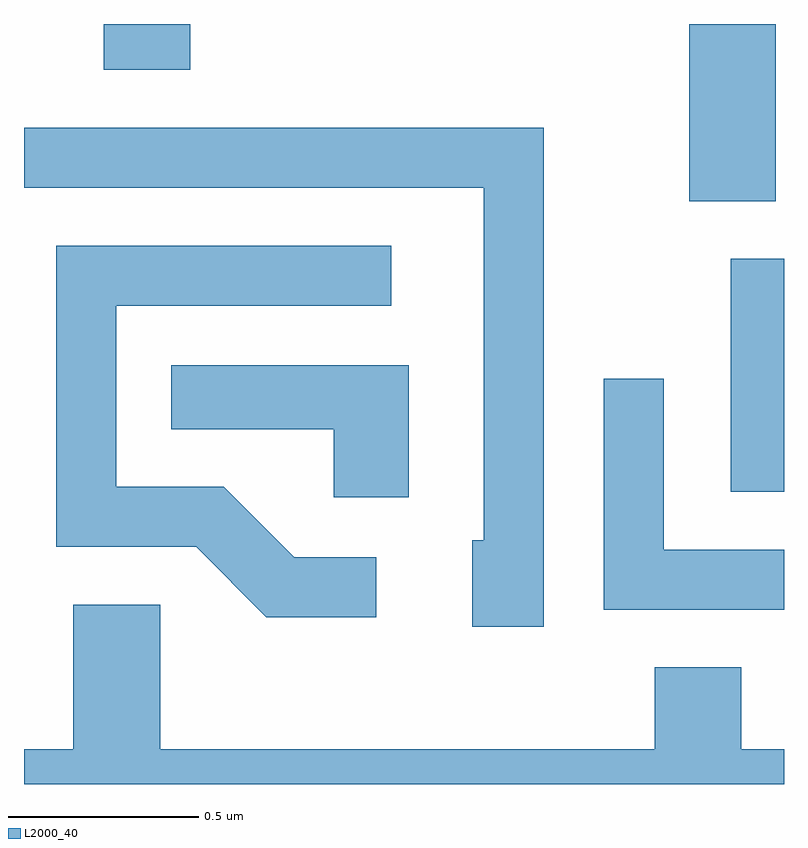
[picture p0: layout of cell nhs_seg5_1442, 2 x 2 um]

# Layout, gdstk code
import gdstk
lib = gdstk.Library(unit=1e-6, precision=1e-09)
def R(c, l, rs):  # rectangles x0, y0, x1, y1
    for r in rs: c.add(gdstk.rectangle(r[:2], r[2:], *l))
def P(c, l, *ps):  # polygons
    for p in ps: c.add(gdstk.Polygon(p, *l))
L2000_40 = (2000, 40)

nhs_seg5_1442 = lib.new_cell('nhs_seg5_1442')
R(nhs_seg5_1442, L2000_40, [(197.471,1468.841,197.611,1469.454), (197.361,1469.606,197.589,1470.072), (195.821,1469.951,196.049,1470.072)])
P(nhs_seg5_1442, L2000_40, [(196.979,1469.799),(195.611,1469.799),(195.611,1469.641),(196.821,1469.641),(196.821,1468.714),(196.791,1468.714),(196.791,1468.486),(196.979,1468.486)],
  [(196.538,1468.669),(196.322,1468.669),(196.137,1468.854),(195.854,1468.854),(195.854,1469.331),(196.578,1469.331),(196.578,1469.489),(195.696,1469.489),(195.696,1468.696),(196.064,1468.696),(196.249,1468.511),(196.538,1468.511)],
  [(196.624,1469.174),(195.998,1469.174),(195.998,1469.006),(196.426,1469.006),(196.426,1468.826),(196.624,1468.826)],
  [(197.611,1468.689),(197.294,1468.689),(197.294,1469.138),(197.136,1469.138),(197.136,1468.531),(197.611,1468.531)],
  [(197.611,1468.164),(197.499,1468.164),(197.499,1468.379),(197.271,1468.379),(197.271,1468.164),(195.969,1468.164),(195.969,1468.544),(195.741,1468.544),(195.741,1468.164),(195.611,1468.164),(195.611,1468.072),(197.611,1468.072)])

lib.write_gds('nhs_seg5_1442.gds')
